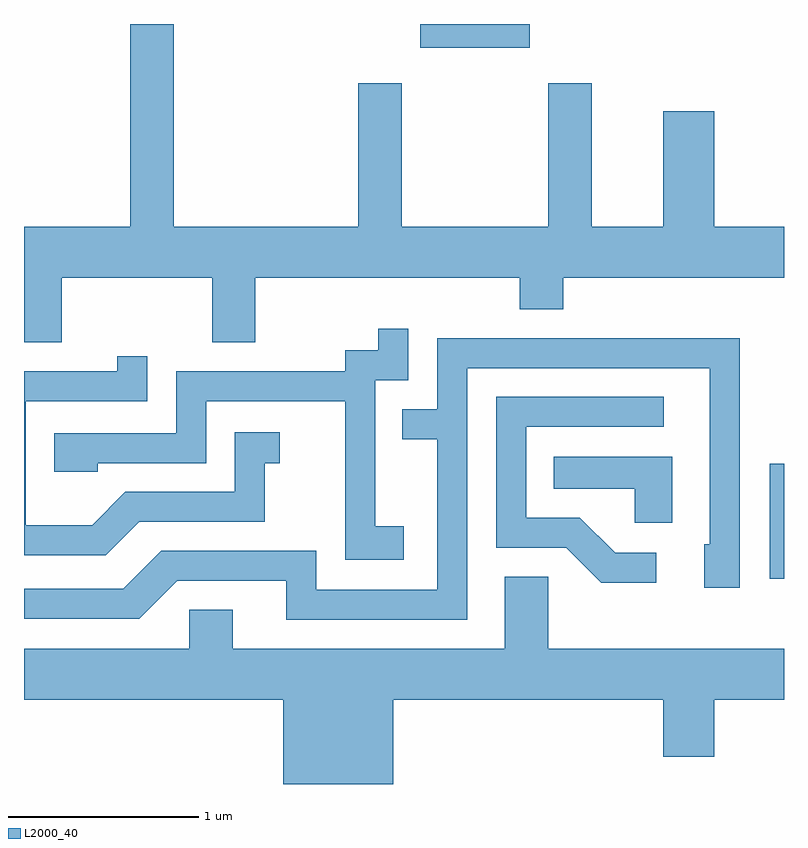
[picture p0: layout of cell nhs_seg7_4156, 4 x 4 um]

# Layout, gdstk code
import gdstk
lib = gdstk.Library(unit=1e-6, precision=1e-09)
def R(c, l, rs):  # rectangles x0, y0, x1, y1
    for r in rs: c.add(gdstk.rectangle(r[:2], r[2:], *l))
def P(c, l, *ps):  # polygons
    for p in ps: c.add(gdstk.Polygon(p, *l))
L2000_40 = (2000, 40)

nhs_seg7_4156 = lib.new_cell('nhs_seg7_4156')
R(nhs_seg7_4156, L2000_40, [(315.536,1779.331,315.611,1779.938), (313.696,1782.126,314.274,1782.252)])
P(nhs_seg7_4156, L2000_40, [(315.611,1781.184),(315.244,1781.184),(315.244,1781.794),(314.976,1781.794),(314.976,1781.184),(314.599,1781.184),(314.599,1781.939),(314.371,1781.939),(314.371,1781.184),(313.599,1781.184),(313.599,1781.939),(313.371,1781.939),(313.371,1781.184),(312.399,1781.184),(312.399,1782.252),(312.171,1782.252),(312.171,1781.184),(311.611,1781.184),(311.611,1780.576),(311.809,1780.576),(311.809,1780.916),(312.601,1780.916),(312.601,1780.576),(312.829,1780.576),(312.829,1780.916),(314.221,1780.916),(314.221,1780.751),(314.449,1780.751),(314.449,1780.916),(315.611,1780.916)],
  [(313.609,1779.609),(313.459,1779.609),(313.459,1780.376),(313.634,1780.376),(313.634,1780.648),(313.476,1780.648),(313.476,1780.534),(313.301,1780.534),(313.301,1780.424),(312.411,1780.424),(312.411,1780.099),(311.771,1780.099),(311.771,1779.896),(311.999,1779.896),(311.999,1779.941),(312.569,1779.941),(312.569,1780.266),(313.301,1780.266),(313.301,1779.431),(313.609,1779.431)],
  [(313.944,1780.441),(315.221,1780.441),(315.221,1779.514),(315.191,1779.514),(315.191,1779.286),(315.379,1779.286),(315.379,1780.599),(313.786,1780.599),(313.786,1780.224),(313.603,1780.224),(313.603,1780.066),(313.786,1780.066),(313.786,1779.274),(313.149,1779.274),(313.149,1779.479),(312.334,1779.479),(312.134,1779.279),(311.611,1779.279),(311.611,1779.121),(312.217,1779.121),(312.417,1779.321),(312.991,1779.321),(312.991,1779.116),(313.944,1779.116)],
  [(312.217,1779.631),(312.879,1779.631),(312.879,1779.941),(312.958,1779.941),(312.958,1780.104),(312.721,1780.104),(312.721,1779.789),(312.144,1779.789),(311.969,1779.614),(311.619,1779.614),(311.619,1780.266),(312.259,1780.266),(312.259,1780.503),(312.101,1780.503),(312.101,1780.424),(311.611,1780.424),(311.611,1779.456),(312.042,1779.456)],
  [(314.938,1779.469),(314.722,1779.469),(314.537,1779.654),(314.254,1779.654),(314.254,1780.131),(314.978,1780.131),(314.978,1780.289),(314.096,1780.289),(314.096,1779.496),(314.464,1779.496),(314.649,1779.311),(314.938,1779.311)],
  [(315.024,1779.974),(314.398,1779.974),(314.398,1779.806),(314.826,1779.806),(314.826,1779.626),(315.024,1779.626)],
  [(313.554,1778.696),(314.976,1778.696),(314.976,1778.396),(315.244,1778.396),(315.244,1778.696),(315.611,1778.696),(315.611,1778.964),(314.369,1778.964),(314.369,1779.344),(314.141,1779.344),(314.141,1778.964),(312.709,1778.964),(312.709,1779.169),(312.481,1779.169),(312.481,1778.964),(311.611,1778.964),(311.611,1778.696),(312.976,1778.696),(312.976,1778.252),(313.554,1778.252)])

lib.write_gds('nhs_seg7_4156.gds')
